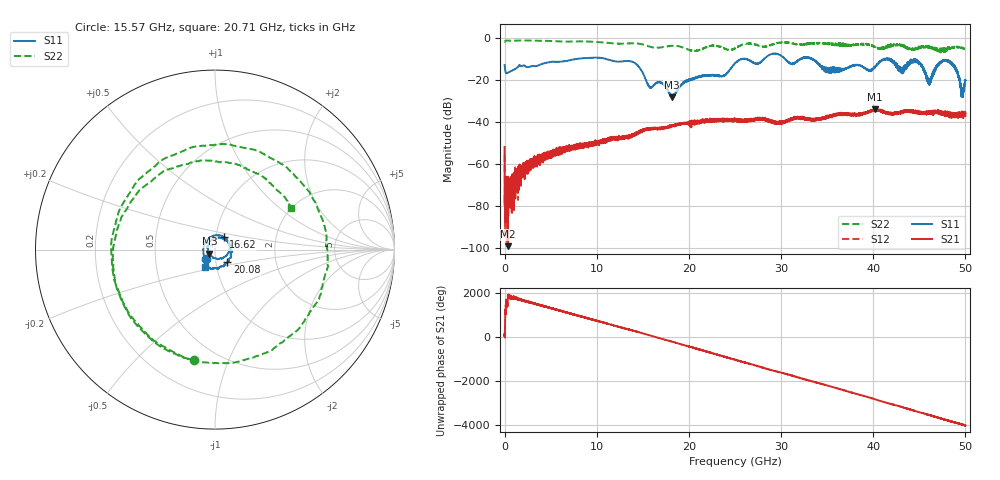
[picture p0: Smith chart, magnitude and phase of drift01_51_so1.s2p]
!Created with skrf (http://scikit-rf.org).
# Hz S RI R 50.0
!freq ReS11 ImS11 ReS21 ImS21 ReS12 ImS12 ReS22 ImS22
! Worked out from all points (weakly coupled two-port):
!   10001 points, 300 kHz to 50 GHz, reference 50 ohm
!   highest |S21| = -34.16 dB at 40.18 GHz (marker M1); lowest = -99.1 dB at 335.3 MHz (marker M2)
!   lowest |S11| = -28.4 dB at 18.15 GHz (marker M3), VSWR 1.08, Z = 47 - j2.08 ohm
!   |S11| at or under -10 dB: start of sweep to 8.082 GHz; 10.89 GHz to 25.83 GHz (14.94 GHz wide, 81.4 % of centre); 41.77 GHz to end of sweep (the widest 3 of 21)
!   |S22| runs from -7.1 to -1.4 dB; largest |S21 - S12| = 0.0038
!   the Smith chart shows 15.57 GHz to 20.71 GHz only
!   S11 on the Smith chart (normalised r, x): 15.57 GHz: 0.90, -0.09; 16.62 GHz: 1.09, +0.16; 20.08 GHz: 1.14, -0.16; 20.71 GHz: 0.88, -0.18
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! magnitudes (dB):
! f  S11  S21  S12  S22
! 300 kHz  -13.1  -52.0  -55.7  -2.1
! 335.3 MHz  -16.8  -99.1  -78.1  -1.4
! 3.07 GHz  -13.4  -59.6  -59.1  -1.4
! 8.335 GHz  -9.9  -51.7  -51.0  -1.8
! 13.87 GHz  -11.5  -46.2  -46.3  -2.7
! 15.57 GHz  -22.6  -43.6  -43.2  -4.0
! 16.62 GHz  -21.3  -43.2  -43.1  -4.8
! 16.67 GHz  -21.3  -43.1  -43.0  -4.8
! 18.15 GHz  -28.4  -41.9  -42.1  -3.9
! 20.08 GHz  -20.1  -40.5  -41.1  -6.0
! 20.71 GHz  -18.9  -40.8  -40.3  -6.3
! 25 GHz  -12.2  -39.2  -39.4  -5.2
! 33.34 GHz  -10.1  -38.8  -39.2  -2.7
! 35.09 GHz  -14.7  -37.8  -37.6  -2.8
! 40.18 GHz  -14.2  -34.2  -34.3  -4.4
! 41.67 GHz  -10.6  -35.9  -36.2  -4.4
! 43.07 GHz  -15.9  -34.9  -35.6  -3.4
! 44.78 GHz  -11.8  -35.8  -35.9  -4.8
! 46.08 GHz  -22.4  -34.9  -35.4  -4.2
! 47.96 GHz  -10.7  -36.3  -36.1  -5.5
! 49.64 GHz  -24.7  -37.1  -35.9  -4.8
! 50 GHz  -20.3  -37.1  -36.1  -5.5
